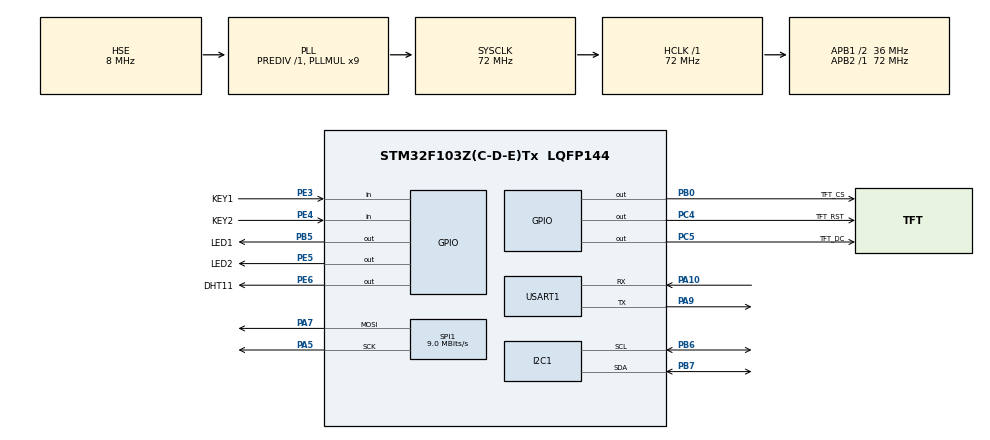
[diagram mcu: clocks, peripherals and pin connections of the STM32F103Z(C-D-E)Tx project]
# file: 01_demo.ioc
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Dma.Request0=USART1_RX
Dma.USART1_RX.0.Direction=DMA_PERIPH_TO_MEMORY
Dma.USART1_RX.0.Instance=DMA1_Channel5
Dma.USART1_RX.0.MemDataAlignment=DMA_MDATAALIGN_BYTE
Dma.USART1_RX.0.MemInc=DMA_MINC_ENABLE
Dma.USART1_RX.0.Mode=DMA_NORMAL
Dma.USART1_RX.0.PeriphDataAlignment=DMA_PDATAALIGN_BYTE
Dma.USART1_RX.0.PeriphInc=DMA_PINC_DISABLE
Dma.USART1_RX.0.Priority=DMA_PRIORITY_LOW
Mcu.Family=STM32F1
Mcu.Name=STM32F103Z(C-D-E)Tx
Mcu.Package=LQFP144
NVIC.PriorityGroup=NVIC_PRIORITYGROUP_4
NVIC.USART1_IRQn=true\:0\:0\:false\:false\:true\:true\:true\:true
OSC_IN.Mode=HSE-External-Oscillator
OSC_IN.Signal=RCC_OSC_IN
OSC_OUT.Mode=HSE-External-Oscillator
OSC_OUT.Signal=RCC_OSC_OUT
PA10.Mode=Asynchronous
PA10.Signal=USART1_RX
PA13.Mode=Serial_Wire
PA13.Signal=SYS_JTMS-SWDIO
PA14.Mode=Serial_Wire
PA14.Signal=SYS_JTCK-SWCLK
PA5.Mode=TX_Only_Simplex_Unidirect_Master
PA5.Signal=SPI1_SCK
PA7.Mode=TX_Only_Simplex_Unidirect_Master
PA7.Signal=SPI1_MOSI
PA9.Mode=Asynchronous
PA9.Signal=USART1_TX
PB0.GPIO_Label=TFT_CS
PB0.Signal=GPIO_Output
PB5.GPIO_Label=LED1
PB5.GPIO_Speed=GPIO_SPEED_FREQ_LOW
PB5.PinState=GPIO_PIN_SET
PB5.Signal=GPIO_Output
PB6.Mode=I2C
PB6.Signal=I2C1_SCL
PB7.Mode=I2C
PB7.Signal=I2C1_SDA
PC4.GPIO_Label=TFT_RST
PC4.Signal=GPIO_Output
PC5.GPIO_Label=TFT_DC
PC5.Signal=GPIO_Output
PE3.GPIO_Label=KEY1
PE3.GPIO_PuPd=GPIO_PULLUP
PE3.Signal=GPIO_Input
PE4.GPIO_Label=KEY2
PE4.GPIO_PuPd=GPIO_PULLUP
PE4.Signal=GPIO_Input
PE5.GPIO_Label=LED2
PE5.GPIO_Speed=GPIO_SPEED_FREQ_LOW
PE5.PinState=GPIO_PIN_SET
PE5.Signal=GPIO_Output
PE6.GPIO_Label=DHT11
PE6.Signal=GPIO_Output
ProjectManager.HeapSize=0x200
ProjectManager.StackSize=0x400
ProjectManager.TargetToolchain=MDK-ARM V5
RCC.AHBFreq_Value=72000000
RCC.APB1CLKDivider=RCC_HCLK_DIV2
RCC.APB1Freq_Value=36000000
RCC.APB1TimFreq_Value=72000000
RCC.APB2Freq_Value=72000000
RCC.APB2TimFreq_Value=72000000
RCC.HCLKFreq_Value=72000000
RCC.PLLMUL=RCC_PLL_MUL9
RCC.PLLSourceVirtual=RCC_PLLSOURCE_HSE
RCC.SYSCLKFreq_VALUE=72000000
RCC.SYSCLKSource=RCC_SYSCLKSOURCE_PLLCLK
RCC.USBFreq_Value=72000000
SPI1.BaudRatePrescaler=SPI_BAUDRATEPRESCALER_8
SPI1.CalculateBaudRate=9.0 MBits/s
SPI1.Direction=SPI_DIRECTION_2LINES
SPI1.Mode=SPI_MODE_MASTER
SPI1.VirtualType=VM_MASTER
USART1.VirtualMode=VM_ASYNC
board=custom

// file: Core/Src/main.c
/* USER CODE BEGIN Header */
/**
 ******************************************************************************
 * @file           : main.c
 * @brief          : Main program body
 ******************************************************************************
 * @attention
 *
 * Copyright (c) 2026 STMicroelectronics.
 * All rights reserved.
 *
 * This software is licensed under terms that can be found in the LICENSE file
 * in the root directory of this software component.
 * If no LICENSE file comes with this software, it is provided AS-IS.
 *
 ******************************************************************************
 */
/* USER CODE END Header */
#include "main.h"
#include "dma.h"
#include "i2c.h"
#include "spi.h"
#include "usart.h"
#include "gpio.h"

/* USER CODE BEGIN Includes */
#include "key.h"
#include "middle_key.h"
#include "shell.h"
#include <stdio.h>
#include "middle_oled.h"
#include "OLED.h"
#include "ring.h"
/* USER CODE END Includes */

void SystemClock_Config(void);

/* USER CODE BEGIN 0 */
Key_Handle_t g_key1;
Key_Handle_t g_key2;

#define UART1_RX_BUFFER_SIZE 32
uint8_t g_uart1_rx_buffer[UART1_RX_BUFFER_SIZE];

// 定义一个大的循环缓冲区
#define UART1_RING_BUFFER_SIZE 256
uint8_t g_uart1_ring_buffer[UART1_RING_BUFFER_SIZE];
ring_t g_uart1_ring;

// 从缓冲区读出来的数据
uint8_t buf[UART1_RING_BUFFER_SIZE] = {0};

// 1.定义一个shell 的对象  实现必要的两个函数
SHELL_TypeDef shell;
void shellWriteChar(char c)
{
    // 使用您的串口发送函数，例如 HAL_UART_Transmit
    HAL_UART_Transmit(&huart1, (uint8_t *)&c, 1, HAL_MAX_DELAY);
}

signed char shellReadChar(char *ch)
{
    // 尝试从环形缓冲区读取一个字节
    if (ring_read(&g_uart1_ring, (uint8_t *)ch, 1) == 1)
    {
        return 0; // 成功
    }
    return -1; // 失败，缓冲区为空
}

// 2.两个示例函数
void hello(void)
{
    shellPrint(shellGetCurrent(), "Hello from STM32!\r\n");
}
SHELL_EXPORT_CMD(hello, hello, say hello);

void add(int a, int b)
{
    shellPrint(shellGetCurrent(), "%d + %d = %d\r\n", a, b, a + b);
}
// 导出命令
SHELL_EXPORT_CMD(add, add, add two numbers);

/* USER CODE END 0 */

int main(void)
{

    /* MCU Configuration--------------------------------------------------------*/

    /* Reset of all peripherals, Initializes the Flash interface and the Systick. */
    HAL_Init();

    /* Configure the system clock */
    SystemClock_Config();

    /* Initialize all configured peripherals */
    MX_GPIO_Init();
    MX_DMA_Init();
    MX_SPI1_Init();
    MX_I2C1_Init();
    MX_USART1_UART_Init();
    /* USER CODE BEGIN 2 */
    BSP_Key_Init();
    BSP_OLED_Init();

    // 串口空闲接收
    printf("hello world");
    OLED_Printf(0, 0, OLED_8X16, "Hello, OLED!");
    OLED_Update();

    // 初始化环形缓冲区
    ring_init(&g_uart1_ring, g_uart1_ring_buffer, UART1_RING_BUFFER_SIZE);
    HAL_UARTEx_ReceiveToIdle_IT(&huart1, (uint8_t *)g_uart1_rx_buffer, UART1_RX_BUFFER_SIZE);

    shell.write = shellWriteChar;
    shell.read = shellReadChar;
    shellInit(&shell);

    /* USER CODE END 2 */

    /* Infinite loop */
    /* USER CODE BEGIN WHILE */
    while (1)
    {
        KeyEvent_t event1 = Key_Scan(&g_key1);
        KeyEvent_t event2 = Key_Scan(&g_key2);

        if (event1 != KEY_EVENT_NONE)
        {
            // 处理按键1事件
            switch (event1)
            {
            case KEY_EVENT_SHORT_PRESS:
                HAL_GPIO_TogglePin(LED1_GPIO_Port, LED1_Pin);
                HAL_UART_Transmit(&huart1, (uint8_t *)"Key1 Short Press\r\n", 18, HAL_MAX_DELAY);
                break;

            default:
                break;
            }
        }

        if (event2 != KEY_EVENT_NONE)
        {
            // 处理按键2事件
            switch (event2)
            {
            case KEY_EVENT_SHORT_PRESS:
                HAL_GPIO_TogglePin(LED2_GPIO_Port, LED2_Pin);
                HAL_UART_Transmit(&huart1, (uint8_t *)"Key2 Short Press\r\n", 18, HAL_MAX_DELAY);
                break;

            default:
                break;
            }
        }

        shellTask(&shell);

        /* USER CODE END WHILE */

    }
}

void SystemClock_Config(void)
{
    RCC_OscInitTypeDef RCC_OscInitStruct = {0};
    RCC_ClkInitTypeDef RCC_ClkInitStruct = {0};

    /** Initializes the RCC Oscillators according to the specified parameters
     * in the RCC_OscInitTypeDef structure.
     */
    RCC_OscInitStruct.OscillatorType = RCC_OSCILLATORTYPE_HSE;
    RCC_OscInitStruct.HSEState = RCC_HSE_ON;
    RCC_OscInitStruct.HSEPredivValue = RCC_HSE_PREDIV_DIV1;
    RCC_OscInitStruct.HSIState = RCC_HSI_ON;
    RCC_OscInitStruct.PLL.PLLState = RCC_PLL_ON;
    RCC_OscInitStruct.PLL.PLLSource = RCC_PLLSOURCE_HSE;
    RCC_OscInitStruct.PLL.PLLMUL = RCC_PLL_MUL9;
    if (HAL_RCC_OscConfig(&RCC_OscInitStruct) != HAL_OK)
    {
        Error_Handler();
    }

    /** Initializes the CPU, AHB and APB buses clocks
     */
    RCC_ClkInitStruct.ClockType = RCC_CLOCKTYPE_HCLK | RCC_CLOCKTYPE_SYSCLK | RCC_CLOCKTYPE_PCLK1 | RCC_CLOCKTYPE_PCLK2;
    RCC_ClkInitStruct.SYSCLKSource = RCC_SYSCLKSOURCE_PLLCLK;
    RCC_ClkInitStruct.AHBCLKDivider = RCC_SYSCLK_DIV1;
    RCC_ClkInitStruct.APB1CLKDivider = RCC_HCLK_DIV2;
    RCC_ClkInitStruct.APB2CLKDivider = RCC_HCLK_DIV1;

    if (HAL_RCC_ClockConfig(&RCC_ClkInitStruct, FLASH_LATENCY_2) != HAL_OK)
    {
        Error_Handler();
    }
}

/* USER CODE BEGIN 4 */
// 串口中断回调函数
void HAL_UARTEx_RxEventCallback(UART_HandleTypeDef *huart, uint16_t Size)
{
    if (huart->Instance == USART1)
    {
        // 将数据推入环形缓冲区
        ring_write(&g_uart1_ring, g_uart1_rx_buffer, Size);
        memset(g_uart1_rx_buffer, 0, UART1_RX_BUFFER_SIZE); // 清空临时接收缓冲区

        // 重新启动空闲接收
        HAL_UARTEx_ReceiveToIdle_IT(&huart1, (uint8_t *)g_uart1_rx_buffer, UART1_RX_BUFFER_SIZE);
    }
}

int fputc(int ch, FILE *f)
{
    HAL_UART_Transmit(&huart1, (uint8_t *)&ch, 1, HAL_MAX_DELAY);
    return ch;
}
/* USER CODE END 4 */

void Error_Handler(void)
{
    __disable_irq();
    while (1)
    {
    }
}
